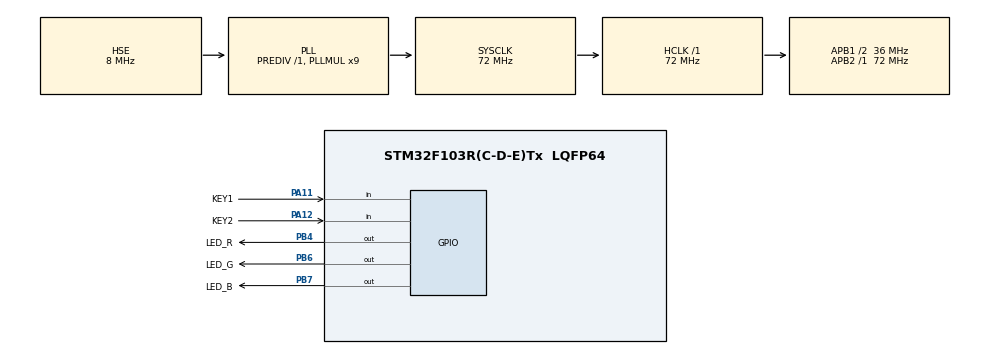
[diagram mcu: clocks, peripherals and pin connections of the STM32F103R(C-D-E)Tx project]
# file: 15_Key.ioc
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Mcu.Family=STM32F1
Mcu.Name=STM32F103R(C-D-E)Tx
Mcu.Package=LQFP64
NVIC.PriorityGroup=NVIC_PRIORITYGROUP_4
NVIC.TIM7_IRQn=true\:0\:0\:false\:false\:true\:true\:true\:true
PA11.GPIO_Label=KEY1
PA11.GPIO_PuPd=GPIO_PULLUP
PA11.Signal=GPIO_Input
PA12.GPIO_Label=KEY2
PA12.GPIO_PuPd=GPIO_PULLUP
PA12.Signal=GPIO_Input
PA13.Mode=Serial_Wire
PA13.Signal=SYS_JTMS-SWDIO
PA14.Mode=Serial_Wire
PA14.Signal=SYS_JTCK-SWCLK
PB4.GPIO_Label=LED_R
PB4.GPIO_PuPd=GPIO_PULLUP
PB4.PinState=GPIO_PIN_SET
PB4.Signal=GPIO_Output
PB6.GPIO_Label=LED_G
PB6.GPIO_PuPd=GPIO_PULLUP
PB6.PinState=GPIO_PIN_SET
PB6.Signal=GPIO_Output
PB7.GPIO_Label=LED_B
PB7.GPIO_PuPd=GPIO_PULLUP
PB7.PinState=GPIO_PIN_SET
PB7.Signal=GPIO_Output
PD0-OSC_IN.Mode=HSE-External-Oscillator
PD0-OSC_IN.Signal=RCC_OSC_IN
PD1-OSC_OUT.Mode=HSE-External-Oscillator
PD1-OSC_OUT.Signal=RCC_OSC_OUT
ProjectManager.HeapSize=0x200
ProjectManager.StackSize=0x400
ProjectManager.TargetToolchain=MDK-ARM V5.32
RCC.AHBFreq_Value=72000000
RCC.APB1CLKDivider=RCC_HCLK_DIV2
RCC.APB1Freq_Value=36000000
RCC.APB1TimFreq_Value=72000000
RCC.APB2Freq_Value=72000000
RCC.APB2TimFreq_Value=72000000
RCC.HCLKFreq_Value=72000000
RCC.PLLMUL=RCC_PLL_MUL9
RCC.PLLSourceVirtual=RCC_PLLSOURCE_HSE
RCC.SYSCLKFreq_VALUE=72000000
RCC.SYSCLKSource=RCC_SYSCLKSOURCE_PLLCLK
RCC.USBFreq_Value=72000000
TIM7.Period=4999
TIM7.Prescaler=71
VP_TIM7_VS_ClockSourceINT.Mode=Enable_Timer
board=custom

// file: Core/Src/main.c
/* USER CODE BEGIN Header */
/**
 ******************************************************************************
 * @file           : main.c
 * @brief          : Main program body
 ******************************************************************************
 * @attention
 *
 * Copyright (c) 2026 STMicroelectronics.
 * All rights reserved.
 *
 * This software is licensed under terms that can be found in the LICENSE file
 * in the root directory of this software component.
 * If no LICENSE file comes with this software, it is provided AS-IS.
 *
 ******************************************************************************
 */
/* USER CODE END Header */
#include "main.h"
#include "tim.h"
#include "gpio.h"

/* USER CODE BEGIN Includes */
#include "key.h"
#include "led.h"
/* USER CODE END Includes */

/* USER CODE BEGIN PV */
keyTypeDef key1, key2;
ledTypedef ledR, ledG, ledB;
uint32_t delayTime = 4;
/* USER CODE END PV */

void SystemClock_Config(void);

int main(void)
{

  /* MCU Configuration--------------------------------------------------------*/

  /* Reset of all peripherals, Initializes the Flash interface and the Systick. */
  HAL_Init();

  /* Configure the system clock */
  SystemClock_Config();

  /* Initialize all configured peripherals */
  MX_GPIO_Init();
  MX_TIM7_Init();
  /* USER CODE BEGIN 2 */
  key_init(&key1, "key1", KEY_ACTIVATE_LOW);
  key_init(&key2, "key2", KEY_ACTIVATE_LOW);
  led_init(&ledR, LED_ACTIVATE_LOW);
  led_init(&ledG, LED_ACTIVATE_LOW);
  led_init(&ledB, LED_ACTIVATE_LOW);
  led_set_blink(&ledR, 10, 1000, LED_INFINITY_CYCLE);
  led_set_freq(&ledB, 250);
  HAL_TIM_Base_Start_IT(&htim7);
  //  HAL_Delay(5000);
  //  led_set_off(&ledG);
  //  HAL_Delay(5000);
  //  led_set_blink(&ledG, 50, 500, 5);
  /* USER CODE END 2 */

  /* Infinite loop */
  /* USER CODE BEGIN WHILE */
  while (1)
  {
    led_triger(&ledB);
    HAL_Delay(delayTime);
    /* USER CODE END WHILE */

  }
}

void SystemClock_Config(void)
{
  RCC_OscInitTypeDef RCC_OscInitStruct = {0};
  RCC_ClkInitTypeDef RCC_ClkInitStruct = {0};

  /** Initializes the RCC Oscillators according to the specified parameters
   * in the RCC_OscInitTypeDef structure.
   */
  RCC_OscInitStruct.OscillatorType = RCC_OSCILLATORTYPE_HSE;
  RCC_OscInitStruct.HSEState = RCC_HSE_ON;
  RCC_OscInitStruct.HSEPredivValue = RCC_HSE_PREDIV_DIV1;
  RCC_OscInitStruct.HSIState = RCC_HSI_ON;
  RCC_OscInitStruct.PLL.PLLState = RCC_PLL_ON;
  RCC_OscInitStruct.PLL.PLLSource = RCC_PLLSOURCE_HSE;
  RCC_OscInitStruct.PLL.PLLMUL = RCC_PLL_MUL9;
  if (HAL_RCC_OscConfig(&RCC_OscInitStruct) != HAL_OK)
  {
    Error_Handler();
  }

  /** Initializes the CPU, AHB and APB buses clocks
   */
  RCC_ClkInitStruct.ClockType = RCC_CLOCKTYPE_HCLK | RCC_CLOCKTYPE_SYSCLK | RCC_CLOCKTYPE_PCLK1 | RCC_CLOCKTYPE_PCLK2;
  RCC_ClkInitStruct.SYSCLKSource = RCC_SYSCLKSOURCE_PLLCLK;
  RCC_ClkInitStruct.AHBCLKDivider = RCC_SYSCLK_DIV1;
  RCC_ClkInitStruct.APB1CLKDivider = RCC_HCLK_DIV2;
  RCC_ClkInitStruct.APB2CLKDivider = RCC_HCLK_DIV1;

  if (HAL_RCC_ClockConfig(&RCC_ClkInitStruct, FLASH_LATENCY_2) != HAL_OK)
  {
    Error_Handler();
  }
}

/* USER CODE BEGIN 4 */
void key_pressed_callback(keyTypeDef *key)
{
  if (key == &key2)
  {
    /* head key pressed event */
    led_set_on(&ledB);
    // HAL_GPIO_WritePin(LED_B_GPIO_Port, LED_B_Pin, GPIO_PIN_RESET);
  }
}

void key_released_callback(keyTypeDef *key)
{
  if (key == &key2)
  {
    /* head key released event */
    led_set_off(&ledB);
    // HAL_GPIO_WritePin(LED_B_GPIO_Port, LED_B_Pin, GPIO_PIN_SET);
  }
}

keyLevel key_get_status(keyTypeDef *key)
{
  if (key == &key1)
  {
    /* return keyLevel */
    return (keyLevel)HAL_GPIO_ReadPin(KEY1_GPIO_Port, KEY1_Pin);
  }
  else if (key == &key2)
  {
    /* return keyLevel */
    return (keyLevel)HAL_GPIO_ReadPin(KEY2_GPIO_Port, KEY2_Pin);
  }
  return KEY_LOW;
}
void key_click_callback(keyTypeDef *key)
{
  if (key == &key1)
  {
    /* head key clicked event */
    delayTime++;
    // led_set_on(&ledR);
  }
}

void key_double_click_callback(keyTypeDef *key)
{
  if (key == &key1)
  {
    /* head key double click event */
    delayTime--;
    // led_set_off(&ledR);
  }
}

void key_long_press_callback(keyTypeDef *key)
{
  if (key == &key1)
  {
    /* head key long press event */
    led_set_on(&ledG);
  }
}

void key_click_long_press_callback(keyTypeDef *key)
{
  if (key == &key1)
  {
    /* head key click long press event */
    led_set_off(&ledG);
  }
}

void led_set_level(ledTypedef *led, ledActivateLevel level)
{
  if (led == &ledR)
  {
    HAL_GPIO_WritePin(LED_R_GPIO_Port, LED_R_Pin, (GPIO_PinState)level);
  }
  else if (led == &ledG)
  {
    HAL_GPIO_WritePin(LED_G_GPIO_Port, LED_G_Pin, (GPIO_PinState)level);
  }
  else if (led == &ledB)
  {
    HAL_GPIO_WritePin(LED_B_GPIO_Port, LED_B_Pin, (GPIO_PinState)level);
  }
}

void HAL_TIM_PeriodElapsedCallback(TIM_HandleTypeDef *htim)
{
  if (htim->Instance == TIM7)
  {
    key_tick();
    led_tick();
  }
}
/* USER CODE END 4 */

void Error_Handler(void)
{
  __disable_irq();
  while (1)
  {
  }
}
